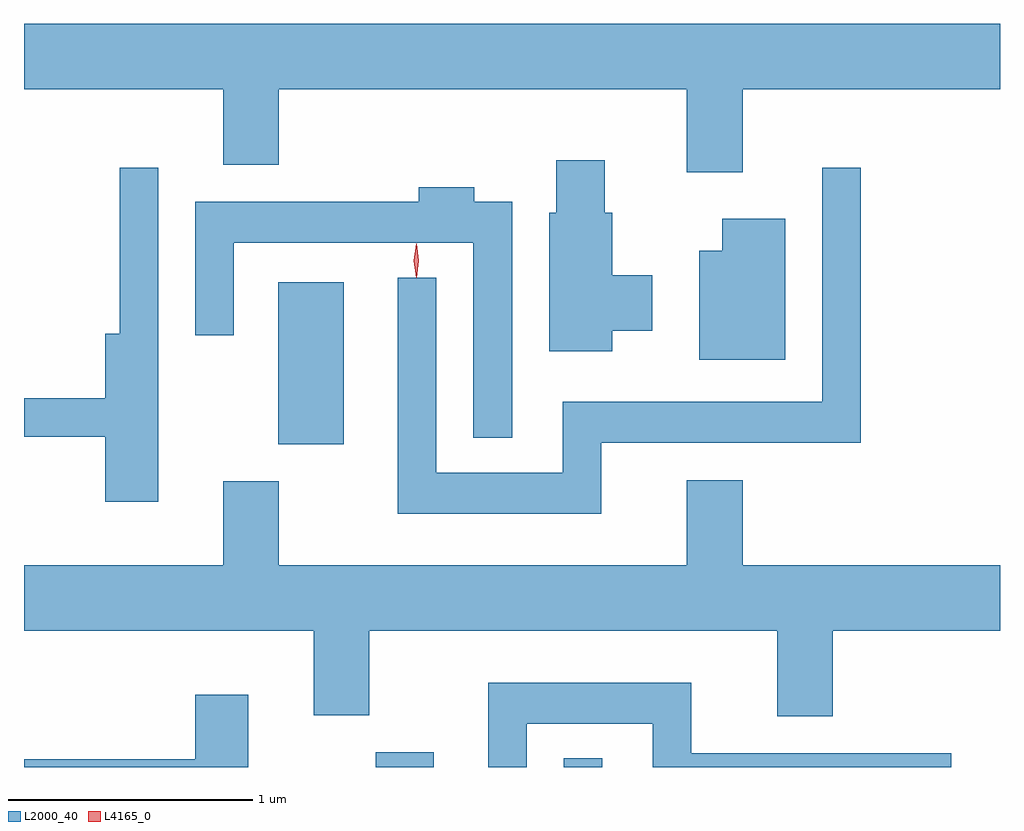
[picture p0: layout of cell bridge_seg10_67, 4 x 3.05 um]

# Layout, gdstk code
import gdstk
lib = gdstk.Library(unit=1e-6, precision=1e-09)
def R(c, l, rs):  # rectangles x0, y0, x1, y1
    for r in rs: c.add(gdstk.rectangle(r[:2], r[2:], *l))
def P(c, l, *ps):  # polygons
    for p in ps: c.add(gdstk.Polygon(p, *l))
L2000_40 = (2000, 40)
L4165_0 = (4165, 0)

bridge_seg10_67 = lib.new_cell('bridge_seg10_67')
R(bridge_seg10_67, L2000_40, [(1583.556,2202.157,1583.794,2202.219), (1584.326,2202.157,1584.484,2202.193), (1583.156,2203.481,1583.424,2204.144)])
P(bridge_seg10_67, L2000_40, [(1585.059,2204.936),(1586.114,2204.936),(1586.114,2205.204),(1582.114,2205.204),(1582.114,2204.936),(1582.931,2204.936),(1582.931,2204.626),(1583.159,2204.626),(1583.159,2204.936),(1584.831,2204.936),(1584.831,2204.596),(1585.059,2204.596)],
  [(1584.524,2203.946),(1584.689,2203.946),(1584.689,2204.174),(1584.524,2204.174),(1584.524,2204.429),(1584.494,2204.429),(1584.494,2204.644),(1584.296,2204.644),(1584.296,2204.429),(1584.266,2204.429),(1584.266,2203.861),(1584.524,2203.861)],
  [(1584.479,2203.486),(1585.544,2203.486),(1585.544,2204.613),(1585.386,2204.613),(1585.386,2203.654),(1584.321,2203.654),(1584.321,2203.364),(1583.804,2203.364),(1583.804,2204.163),(1583.646,2204.163),(1583.646,2203.196),(1584.479,2203.196)],
  [(1582.664,2204.613),(1582.506,2204.613),(1582.506,2203.934),(1582.446,2203.934),(1582.446,2203.669),(1582.114,2203.669),(1582.114,2203.511),(1582.446,2203.511),(1582.446,2203.246),(1582.664,2203.246)],
  [(1584.114,2204.474),(1583.959,2204.474),(1583.959,2204.534),(1583.731,2204.534),(1583.731,2204.474),(1582.816,2204.474),(1582.816,2203.928),(1582.974,2203.928),(1582.974,2204.306),(1583.956,2204.306),(1583.956,2203.508),(1584.114,2203.508)],
  [(1585.234,2204.404),(1584.976,2204.404),(1584.976,2204.274),(1584.881,2204.274),(1584.881,2203.826),(1585.234,2203.826)],
  [(1585.429,2202.716),(1586.114,2202.716),(1586.114,2202.984),(1585.059,2202.984),(1585.059,2203.334),(1584.831,2203.334),(1584.831,2202.984),(1583.159,2202.984),(1583.159,2203.329),(1582.931,2203.329),(1582.931,2202.984),(1582.114,2202.984),(1582.114,2202.716),(1583.301,2202.716),(1583.301,2202.371),(1583.529,2202.371),(1583.529,2202.716),(1585.201,2202.716),(1585.201,2202.366),(1585.429,2202.366)],
  [(1584.174,2202.336),(1584.691,2202.336),(1584.691,2202.157),(1585.914,2202.157),(1585.914,2202.214),(1584.849,2202.214),(1584.849,2202.504),(1584.016,2202.504),(1584.016,2202.157),(1584.174,2202.157)],
  [(1583.034,2202.454),(1582.816,2202.454),(1582.816,2202.189),(1582.114,2202.189),(1582.114,2202.157),(1583.034,2202.157)])
P(bridge_seg10_67, L4165_0, [(1583.722,2204.164),(1583.722,2204.164),(1583.712,2204.233),(1583.722,2204.302),(1583.722,2204.303),(1583.723,2204.302),(1583.732,2204.233),(1583.723,2204.164)])

lib.write_gds('bridge_seg10_67.gds')
